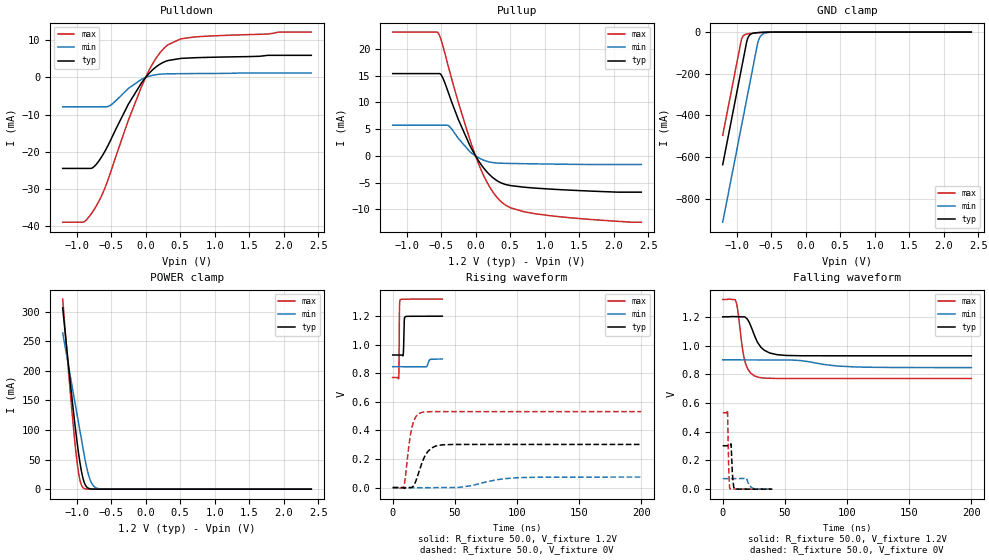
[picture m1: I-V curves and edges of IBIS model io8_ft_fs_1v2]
| [Disclaimer]  This information is for modeling purpose only and is
| not guaranteed. The information is subject to change without
| notice.
| [Copyright] Copyright 2024 STMicroelectronics Inc.
| From stm32g471_473_474_483_484_lqfp48.ibs, stm32g471_473_474_483_484_lqfp48, STMicroelectronics
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[Model]   io8_ft_fs_1v2
Model_type I/O
Polarity   Non-Inverting
Enable   Active-Low
| CAP_THRESHOLD on pad IOFT is "UDTCAPC" :
| Rising=30.0% of vddiom   Falling=70.0% of vddiom
| C_comp min and max val. don't necessarily correlate with the min and max pvt
| but are the smallest and greatest pad capacitance found.
| var   typ   min   max
C_comp   1.83456pF  1.76047pF  1.83482pF
|C_comp_pullup   1.06365pF  1.01765pF  1.04710pF
|C_comp_pulldown   770.91000fF  742.82001fF  787.72000fF
Vinl = 270.0mV
Vinh = 924.0mV
Vmeas = 600.0mV   | Reference voltage for timing measurements
Cref  = 50.0pF   | Timing specification test load capacitance value
Rref  = 100.0MOhm   | Timing specification test load resistance value
Vref  = 600.0mV   | Timing specification test load voltage
[Model Spec]
| TIME_THRESHOLD on pin ZIV12 is "CMOS" :
| Rising=50.0% of vdd   Falling=50.0% of vdd
Vinl 458.70000mV 364.70000mV 499.70000mV
Vinh 728.30000mV 548.30000mV 792.30000mV
| variable   typ   min   max
[Temperature Range] 25.0 140.0 -40.0
| variable   typ   min   max
[Voltage Range] 1.2V 900.0mV 1.32V
| variable   typ   min   max
[POWER Clamp Reference] 1.2V 900.0mV 1.32V
| variable   typ   min   max
[GND Clamp Reference] 0V 0V 0V
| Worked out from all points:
|   slope of the pulldown table from 0 to 0.18 V, typ, clamps not added: 55.6 ohm
|   slope of the pullup table from 0 to 0.18 V, typ, clamps not added: 56.3 ohm
|   GND clamp passes 1 mA (typ) near -0.61 V on its own axis
|   POWER clamp passes 1 mA (typ) near -0.81 V on its own axis
|   rising waveform, R_fixture 50.0, V_fixture 1.2V: 20-80 % time 436ps typ, 1.3ns min, 278ps max; typ from 0.928 V to 1.2 V
|   falling waveform, R_fixture 50.0, V_fixture 1.2V: 20-80 % time 9.24ns typ, 24.9ns min, 5.52ns max; typ from 1.2 V to 0.928 V
|   rising waveform, R_fixture 50.0, V_fixture 0V: 20-80 % time 8.19ns typ, 23ns min, 4.92ns max; typ from 0 V to 0.302 V
|   falling waveform, R_fixture 50.0, V_fixture 0V: 20-80 % time 1.14ns typ, 2.99ns min, 785ps max; typ from 0.302 V to 0 V
[POWER Clamp]
-1.2V     306.2mA    263.9mA    321.2mA
-1.09V    180mA      191mA      163.4mA
-1.05V    136.9mA    164.5mA    110.9mA
-1.01V    96.55mA    138mA      64.02mA
-960mV    52.29mA    104.9mA    20.68mA
-930mV    31.08mA    85.01mA    7.282mA
-900mV    15.67mA    65.13mA    2.025mA
-850mV    3.417mA    35.2mA     196.2uA
-800mV    570.2uA    14.97mA    18.13uA
-750mV    88.98uA    4.952mA    1.667uA
-680mV    6.495uA    823.9uA    58.96nA
2.4V      0A         0A         0A
[GND Clamp]
-1.2V     -636.9mA   -913.2mA   -495.8mA
-940mV    -194.9mA   -471.2mA   -53.78mA
-920mV    -160.9mA   -437.2mA   -28.06mA
-890mV    -109.9mA   -386.2mA   -14.28mA
-850mV    -43.09mA   -318.2mA   -9.18mA
-820mV    -18.33mA   -267.2mA   -7.516mA
-780mV    -7.695mA   -199.2mA   -5.87mA
-690mV    -2.548mA   -49.42mA   -2.9mA
-660mV    -1.868mA   -24.06mA   -2.112mA
-630mV    -1.326mA   -12.18mA   -1.447mA
-430mV    -19.32uA   -177.8uA   -8.091uA
2.4V      300pA      77.2nA     208.1pA
| variable   typ   min   max
[Pullup Reference] 1.2V 900.0mV 1.32V
| variable   typ   min   max
[Pulldown Reference] 0V 0V 0V
[Pullup]
-1.2V     15.4mA     5.746mA    23.16mA
-540mV    15.4mA     5.746mA    22.96mA
-480mV    14.75mA    5.746mA    20.88mA
-390mV    11.69mA    5.65mA     16.52mA
-250mV    6.833mA    3.296mA    10.02mA
-90mV     2.161mA    908.6uA    3.352mA
30mV      -637.7uA   -235.8uA   -1.032mA
220mV     -3.712mA   -1.175mA   -6.128mA
410mV     -5.232mA   -1.372mA   -8.966mA
510mV     -5.544mA   -1.401mA   -9.708mA
900mV     -6.043mA   -1.482mA   -10.87mA
2.4V      -6.768mA   -1.593mA   -12.38mA
[Pulldown]
-1.2V     -24.47mA   -7.9mA     -38.94mA
-890mV    -24.47mA   -7.9mA     -38.83mA
-720mV    -23.49mA   -7.9mA     -34.76mA
-610mV    -20.54mA   -7.9mA     -30.69mA
-510mV    -17.01mA   -7.49mA    -25.69mA
-250mV    -7.205mA   -2.955mA   -11.53mA
0V        -15fA      0A         0A
160mV     2.97mA     779.9uA    5.417mA
320mV     4.547mA    983.4uA    8.763mA
510mV     5.135mA    1.031mA    10.4mA
700mV     5.311mA    1.057mA    10.88mA
2.4V      5.965mA    1.209mA    12.22mA
[Ramp]
dV/dt_r 181.26153mV/8.18713ns 44.07152mV/22.97907ns 319.20813mV/4.91517ns
dV/dt_f 162.92205mV/9.23981ns 32.18237mV/24.93707ns 329.56896mV/5.51899ns
R_load = 50.0
| Removed startup time: 0s 0s 0s  .
| Removed end time: 39.9ns.
[Rising Waveform]
R_fixture   = 50.0
V_fixture   = 1.2V
V_fixture_min = 900.0mV
V_fixture_max = 1.32V
0s        928.4mV    846.3mV    770.7mV
4.8ns     928.5mV    846.4mV    763.7mV
5.1ns     928.5mV    846.4mV    884.2mV
5.3ns     928.5mV    846.4mV    1.139V
5.5ns     928.5mV    846.4mV    1.282V
6ns       928.5mV    846.4mV    1.315V
8.4ns     926.6mV    846.4mV    1.319V
9.3ns     1.17V      846.4mV    1.319V
9.9ns     1.195V     846.4mV    1.319V
39.9ns    1.2V       899.8mV    1.32V
| Removed startup time: 0s 0s 0s  .
| Removed end time: 199.9ns.
[Falling Waveform]
R_fixture   = 50.0
V_fixture   = 1.2V
V_fixture_min = 900.0mV
V_fixture_max = 1.32V
0s        1.2V       900mV      1.32V
10.2ns    1.202V     900mV      1.316V
12.3ns    1.2V       900mV      1.235V
17.2ns    1.2V       899.9mV    913.2mV
20ns      1.181V     900.7mV    839mV
25.8ns    1.064V     900.4mV    787.2mV
33.3ns    967.8mV    900.2mV    773.7mV
43.6ns    936.4mV    900mV      770.8mV
103.4ns   928.5mV    851.8mV    770.7mV
199.9ns   928.5mV    846.4mV    770.7mV
| Removed startup time: 0s 0s 0s  .
| Removed end time: 199.9ns.
[Rising Waveform]
R_fixture   = 50.0
V_fixture   = 0V
V_fixture_min = 0V
V_fixture_max = 0V
0s        -21.54uV   -19.21uV   -16.71uV
8.9ns     -3.175mV   116.4nV    6.171mV
13.8ns    -309.2uV   111.6nV    344.4mV
15.3ns    1.353mV    38.02nV    417.6mV
18.6ns    45.62mV    -273.8nV   497.4mV
23.5ns    172.6mV    13.25uV    527.2mV
31ns      276mV      -949.2uV   531.9mV
39.7ns    299.2mV    -41.11uV   532mV
101.6ns   302.1mV    69.62mV    532mV
199.9ns   302.1mV    73.45mV    532mV
| Removed startup time: 0s 0s 0s  .
| Removed end time: 39.9ns.
[Falling Waveform]
R_fixture   = 50.0
V_fixture   = 0V
V_fixture_min = 0V
V_fixture_max = 0V
0s        302.1mV    73.47mV    532mV
3.9ns     302.1mV    73.46mV    545.2mV
4.8ns     302mV      73.46mV    149.9mV
5.7ns     301.2mV    73.46mV    4.665mV
6.7ns     313.1mV    73.46mV    1.612mV
7.9ns     95.56mV    73.46mV    813.2uV
9.5ns     1.893mV    73.46mV    702.7uV
18.9ns    336.4uV    77.18mV    91.81uV
25.4ns    142.5uV    1.948mV    17.15uV
39.9ns    20.57uV    72.84uV    2.629uV
